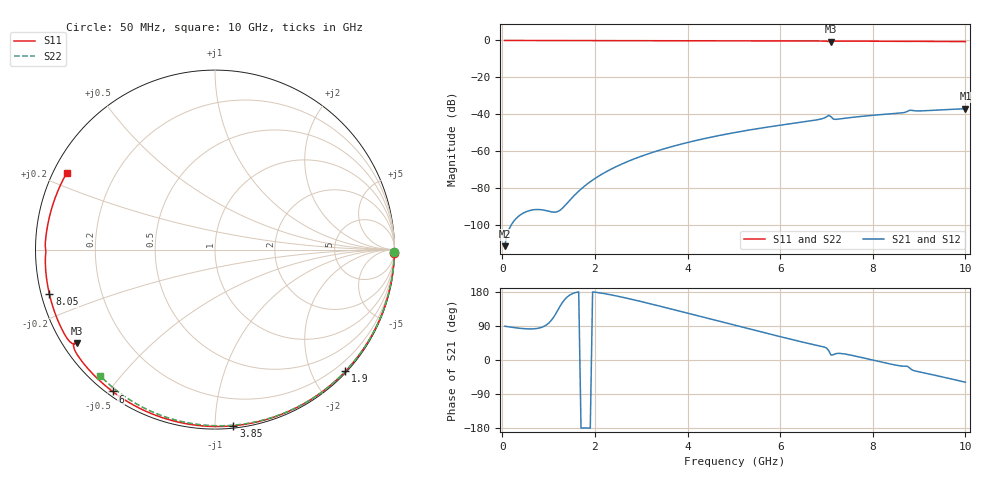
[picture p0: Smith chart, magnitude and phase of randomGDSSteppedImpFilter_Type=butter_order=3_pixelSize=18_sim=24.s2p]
! freq	dB(S11)	phase(S11)	dB(S12)	phase(S12)
!  dB(S21)	phase(S21)	dB(S22)	phase(S22)
!S-par simulation data
#  GHz  S  DB  R 50
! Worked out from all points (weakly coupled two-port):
!   200 points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, 50 MHz to 10 GHz, reference 50 ohm
!   highest |S21| = -37.05 dB at 10 GHz (marker M1); lowest = -111.6 dB at 50 MHz (marker M2)
!   lowest |S11| = -0.6 dB at 7.1 GHz (marker M3), VSWR 27.22, Z = 2.01 - j15.4 ohm
!   |S11| at or under -10 dB: nowhere
!   |S22| runs from -0.4 to 0.0 dB; largest |S21 - S12| = 0
!   S11 on the Smith chart (normalised r, x): 50 MHz: 0, -98; 1.9 GHz: 0.02, -2.54; 3.85 GHz: 0.01, -1.11; 6 GHz: 0.02, -0.51; 8.05 GHz: 0.02, -0.13; 10 GHz: 0.04, +0.24
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0.05  -0.00 -1.2  -111.63 89.2  -111.63 89.2  -0.00 -0.8
0.85  -0.02 -19.5  -91.88 86.3  -91.88 86.3  -0.02 -12.9
1.75  -0.05 -39.7  -79.58 -179.3  -79.58 -179.3  -0.03 -26.4
1.9  -0.05 -43.0  -76.66 -179.9  -76.66 -179.9  -0.04 -28.6
2.2  -0.06 -49.5  -71.86 175.3  -71.86 175.3  -0.04 -33.1
2.55  -0.07 -57.1  -67.41 166.8  -67.41 166.8  -0.05 -38.2
3.4  -0.10 -74.9  -59.51 142.2  -59.51 142.2  -0.07 -50.3
3.85  -0.11 -84.1  -56.33 128.3  -56.33 128.3  -0.08 -56.6
5.05  -0.17 -107.7  -49.83 90.9  -49.83 90.9  -0.11 -72.7
6  -0.22 -125.8  -45.99 61.7  -45.99 61.7  -0.15 -85.0
6.7  -0.28 -139.3  -43.49 41.1  -43.49 41.1  -0.18 -93.7
6.9  -0.32 -143.5  -42.51 35.7  -42.51 35.7  -0.19 -96.1
7.05  -0.59 -146.7  -40.68 24.7  -40.68 24.7  -0.20 -98.0
7.1  -0.64 -145.7  -41.43 12.9  -41.43 12.9  -0.20 -98.6
7.15  -0.45 -146.3  -42.67 14.0  -42.67 14.0  -0.20 -99.2
7.2  -0.37 -147.6  -42.84 16.7  -42.84 16.7  -0.21 -99.8
8.05  -0.40 -165.0  -40.50 -1.6  -40.50 -1.6  -0.26 -109.9
8.35  -0.43 -171.1  -39.86 -9.8  -39.86 -9.8  -0.29 -113.4
8.65  -0.48 -177.3  -39.23 -16.2  -39.23 -16.2  -0.31 -116.9
8.8  -0.50 179.9  -37.86 -21.4  -37.86 -21.4  -0.33 -118.6
9.4  -0.55 166.6  -37.76 -41.8  -37.76 -41.8  -0.38 -125.4
10  -0.63 152.7  -37.05 -58.7  -37.05 -58.7  -0.44 -132.2
